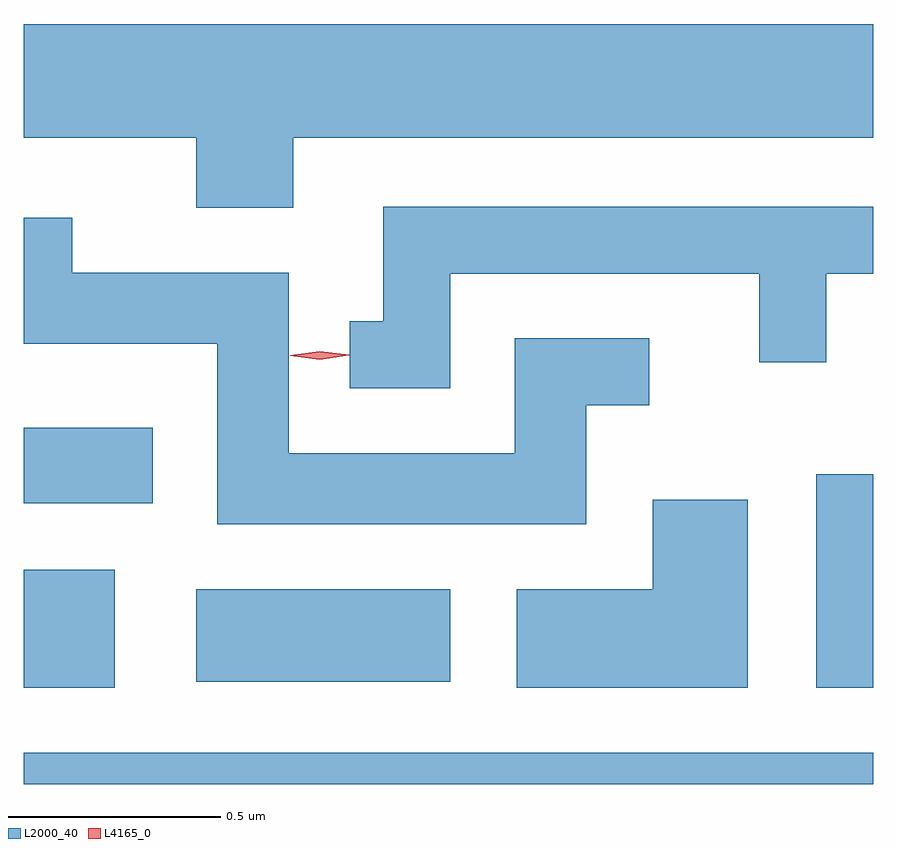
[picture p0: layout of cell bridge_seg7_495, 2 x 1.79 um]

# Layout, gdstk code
import gdstk
lib = gdstk.Library(unit=1e-6, precision=1e-09)
def R(c, l, rs):  # rectangles x0, y0, x1, y1
    for r in rs: c.add(gdstk.rectangle(r[:2], r[2:], *l))
def P(c, l, *ps):  # polygons
    for p in ps: c.add(gdstk.Polygon(p, *l))
L2000_40 = (2000, 40)
L4165_0 = (4165, 0)

bridge_seg7_495 = lib.new_cell('bridge_seg7_495')
R(bridge_seg7_495, L2000_40, [(1442.505,1712.795,1444.505,1712.869), (1442.505,1713.021,1442.719,1713.299), (1444.371,1713.021,1444.505,1713.524), (1442.911,1713.036,1443.509,1713.254), (1442.505,1713.456,1442.809,1713.634)])
P(bridge_seg7_495, L2000_40, [(1443.139,1714.316),(1444.505,1714.316),(1444.505,1714.584),(1442.505,1714.584),(1442.505,1714.316),(1442.911,1714.316),(1442.911,1714.151),(1443.139,1714.151)],
  [(1443.509,1713.996),(1444.236,1713.996),(1444.236,1713.788),(1444.394,1713.788),(1444.394,1713.996),(1444.505,1713.996),(1444.505,1714.154),(1443.351,1714.154),(1443.351,1713.884),(1443.273,1713.884),(1443.273,1713.726),(1443.509,1713.726)],
  [(1443.829,1713.686),(1443.978,1713.686),(1443.978,1713.844),(1443.661,1713.844),(1443.661,1713.574),(1443.129,1713.574),(1443.129,1713.999),(1442.619,1713.999),(1442.619,1714.128),(1442.505,1714.128),(1442.505,1713.831),(1442.961,1713.831),(1442.961,1713.406),(1443.829,1713.406)],
  [(1444.209,1713.464),(1443.986,1713.464),(1443.986,1713.254),(1443.666,1713.254),(1443.666,1713.021),(1444.209,1713.021)])
P(bridge_seg7_495, L4165_0, [(1443.202,1713.794),(1443.132,1713.803),(1443.132,1713.803),(1443.132,1713.804),(1443.202,1713.814),(1443.271,1713.805),(1443.271,1713.804),(1443.271,1713.804)])

lib.write_gds('bridge_seg7_495.gds')
